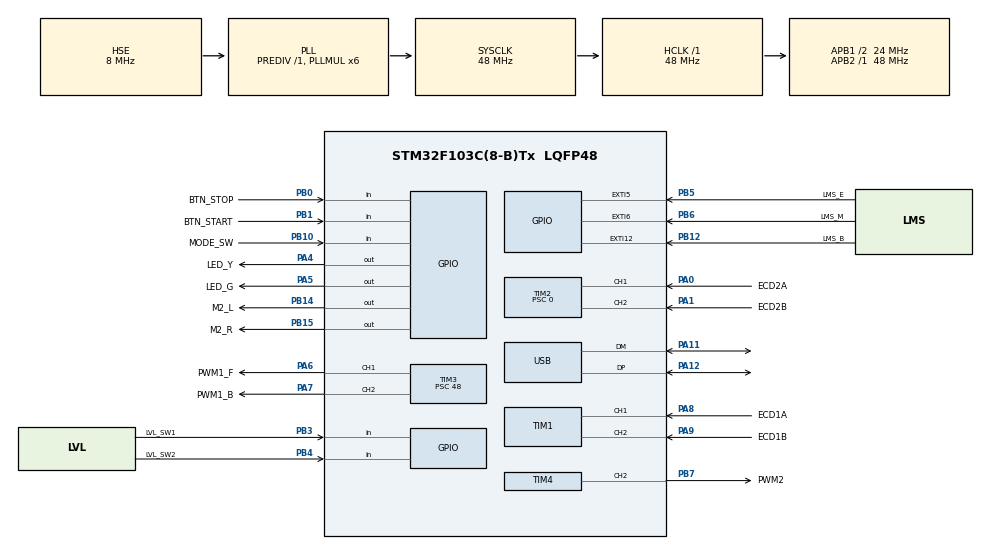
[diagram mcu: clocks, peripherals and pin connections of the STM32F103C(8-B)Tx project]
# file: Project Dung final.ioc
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Mcu.Family=STM32F1
Mcu.Name=STM32F103C(8-B)Tx
Mcu.Package=LQFP48
NVIC.EXTI15_10_IRQn=true\:2\:0\:true\:false\:true\:true\:true\:true
NVIC.EXTI9_5_IRQn=true\:2\:0\:true\:false\:true\:true\:true\:true
NVIC.PriorityGroup=NVIC_PRIORITYGROUP_4
NVIC.TIM4_IRQn=true\:1\:0\:true\:false\:true\:true\:true\:true
NVIC.USB_LP_CAN1_RX0_IRQn=true\:0\:0\:false\:false\:true\:false\:true\:true
PA0-WKUP.GPIO_Label=ECD2A
PA0-WKUP.Signal=S_TIM2_CH1_ETR
PA1.GPIO_Label=ECD2B
PA1.Signal=S_TIM2_CH2
PA11.Mode=Device
PA11.Signal=USB_DM
PA12.Mode=Device
PA12.Signal=USB_DP
PA13.Mode=Serial_Wire
PA13.Signal=SYS_JTMS-SWDIO
PA14.Mode=Serial_Wire
PA14.Signal=SYS_JTCK-SWCLK
PA4.GPIO_Label=LED_Y
PA4.Signal=GPIO_Output
PA5.GPIO_Label=LED_G
PA5.Signal=GPIO_Output
PA6.GPIO_Label=PWM1_F
PA6.Signal=S_TIM3_CH1
PA7.GPIO_Label=PWM1_B
PA7.Signal=S_TIM3_CH2
PA8.GPIO_Label=ECD1A
PA8.Signal=S_TIM1_CH1
PA9.GPIO_Label=ECD1B
PA9.Signal=S_TIM1_CH2
PB0.GPIO_Label=BTN_STOP
PB0.GPIO_PuPd=GPIO_PULLUP
PB0.Signal=GPIO_Input
PB1.GPIO_Label=BTN_START
PB1.GPIO_PuPd=GPIO_PULLUP
PB1.Signal=GPIO_Input
PB10.GPIO_Label=MODE_SW
PB10.GPIO_PuPd=GPIO_PULLUP
PB10.Signal=GPIO_Input
PB12.GPIO_Label=LMS_B
PB12.GPIO_ModeDefaultEXTI=GPIO_MODE_IT_RISING_FALLING
PB12.GPIO_PuPd=GPIO_PULLUP
PB12.Signal=GPXTI12
PB14.GPIO_Label=M2_L
PB14.Signal=GPIO_Output
PB15.GPIO_Label=M2_R
PB15.Signal=GPIO_Output
PB3.GPIO_Label=LVL_SW1
PB3.GPIO_PuPd=GPIO_PULLUP
PB3.Signal=GPIO_Input
PB4.GPIO_Label=LVL_SW2
PB4.GPIO_PuPd=GPIO_PULLUP
PB4.Signal=GPIO_Input
PB5.GPIO_Label=LMS_E
PB5.GPIO_ModeDefaultEXTI=GPIO_MODE_IT_RISING_FALLING
PB5.GPIO_PuPd=GPIO_PULLUP
PB5.Signal=GPXTI5
PB6.GPIO_Label=LMS_M
PB6.GPIO_ModeDefaultEXTI=GPIO_MODE_IT_RISING_FALLING
PB6.GPIO_PuPd=GPIO_PULLUP
PB6.Signal=GPXTI6
PB7.GPIO_Label=PWM2
PB7.Signal=S_TIM4_CH2
PB8.Signal=S_TIM4_CH3
PD0-OSC_IN.GPIO_Label=OSC1
PD0-OSC_IN.Mode=HSE-External-Oscillator
PD0-OSC_IN.Signal=RCC_OSC_IN
PD1-OSC_OUT.GPIO_Label=OSC2
PD1-OSC_OUT.Mode=HSE-External-Oscillator
PD1-OSC_OUT.Signal=RCC_OSC_OUT
ProjectManager.HeapSize=0x200
ProjectManager.StackSize=0x400
ProjectManager.TargetToolchain=STM32CubeIDE
RCC.ADCPresc=RCC_ADCPCLK2_DIV4
RCC.AHBFreq_Value=48000000
RCC.APB1CLKDivider=RCC_HCLK_DIV2
RCC.APB1Freq_Value=24000000
RCC.APB1TimFreq_Value=48000000
RCC.APB2Freq_Value=48000000
RCC.APB2TimFreq_Value=48000000
RCC.HCLKFreq_Value=48000000
RCC.PLLMUL=RCC_PLL_MUL6
RCC.SYSCLKFreq_VALUE=48000000
RCC.SYSCLKSource=RCC_SYSCLKSOURCE_PLLCLK
RCC.USBFreq_Value=48000000
SH.S_TIM1_CH1.0=TIM1_CH1,Encoder_Interface
SH.S_TIM1_CH2.0=TIM1_CH2,Encoder_Interface
SH.S_TIM2_CH1_ETR.0=TIM2_CH1,Encoder_Interface
SH.S_TIM2_CH2.0=TIM2_CH2,Encoder_Interface
SH.S_TIM3_CH1.0=TIM3_CH1,PWM Generation1 CH1
SH.S_TIM3_CH2.0=TIM3_CH2,PWM Generation2 CH2
SH.S_TIM4_CH2.0=TIM4_CH2,PWM Generation2 CH2
SH.S_TIM4_CH3.0=TIM4_CH3
TIM1.AutoReloadPreload=TIM_AUTORELOAD_PRELOAD_ENABLE
TIM1.EncoderMode=TIM_ENCODERMODE_TI12
TIM1.IC1Filter=10
TIM1.IC2Filter=10
TIM2.AutoReloadPreload=TIM_AUTORELOAD_PRELOAD_ENABLE
TIM2.EncoderMode=TIM_ENCODERMODE_TI12
TIM2.IC1Filter=10
TIM2.IC2Filter=10
TIM2.Period=65535
TIM2.Prescaler=0
TIM3.AutoReloadPreload=TIM_AUTORELOAD_PRELOAD_ENABLE
TIM3.Channel-PWM\ Generation1\ CH1=TIM_CHANNEL_1
TIM3.Channel-PWM\ Generation2\ CH2=TIM_CHANNEL_2
TIM3.Period=499
TIM3.Prescaler=48
TIM4.AutoReloadPreload=TIM_AUTORELOAD_PRELOAD_ENABLE
TIM4.Channel-PWM\ Generation2\ CH2=TIM_CHANNEL_2
TIM4.Period=999
TIM4.Prescaler=48
USB_DEVICE.APP_RX_DATA_SIZE=64
USB_DEVICE.APP_TX_DATA_SIZE=64
USB_DEVICE.CLASS_NAME_FS=CDC
USB_DEVICE.VirtualMode=Cdc
USB_DEVICE.VirtualModeFS=Cdc_FS
VP_USB_DEVICE_VS_USB_DEVICE_CDC_FS.Mode=CDC_FS
board=custom

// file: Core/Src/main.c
/* USER CODE BEGIN Header */
/**
 ******************************************************************************
 * @file           : main.c (FINAL)
 * @brief          : Main program body
 ******************************************************************************
 * @attention
 *
 * Copyright (c) 2022 STMicroelectronics.
 * All rights reserved.
 *
 * This software is licensed under terms that can be found in the LICENSE file
 * in the root directory of this software component.
 * If no LICENSE file comes with this software, it is provided AS-IS.
 *
 ******************************************************************************
 */
/* USER CODE END Header */
#include "main.h"
#include "usb_device.h"

/* USER CODE BEGIN Includes */
#include "user_func.h"
#include "BUTTON.h"
/* USER CODE END Includes */

TIM_HandleTypeDef htim1;
TIM_HandleTypeDef htim2;
TIM_HandleTypeDef htim3;
TIM_HandleTypeDef htim4;

/* USER CODE BEGIN PV */
typedef enum {
  RUN = 0, IDLE = 1
} State;
State state = 0;

Button BTN_START, BTN_STOP, MODE, LVL1, LVL2;
int32_t ECD1 = 0, ECD2 = 0;

/* USER CODE END PV */

void SystemClock_Config(void);
static void MX_GPIO_Init(void);
static void MX_TIM1_Init(void);
static void MX_TIM2_Init(void);
static void MX_TIM3_Init(void);
static void MX_TIM4_Init(void);

int main(void)
{

  /* MCU Configuration--------------------------------------------------------*/

  /* Reset of all peripherals, Initializes the Flash interface and the Systick. */
  HAL_Init();

  /* Configure the system clock */
  SystemClock_Config();

  /* Initialize all configured peripherals */
  MX_GPIO_Init();
  MX_TIM1_Init();
  MX_TIM2_Init();
  MX_TIM3_Init();
  MX_TIM4_Init();
  MX_USB_DEVICE_Init();
  /* USER CODE BEGIN 2 */
  set_motor2_dir(0);

  // For encoders
  HAL_TIM_Encoder_Start(&htim1, TIM_CHANNEL_ALL);
  HAL_TIM_Encoder_Start(&htim2, TIM_CHANNEL_ALL);

  // For PWM
  HAL_TIM_PWM_Start(&htim4, TIM_CHANNEL_2);
  HAL_TIM_PWM_Start(&htim3, TIM_CHANNEL_1);
  HAL_TIM_PWM_Start(&htim3, TIM_CHANNEL_2);

  // For buttons
  buttonInit(&BTN_START, BTN_START_GPIO_Port, BTN_START_Pin);
  buttonInit(&BTN_STOP, BTN_STOP_GPIO_Port, BTN_STOP_Pin);

  buttonInit(&MODE, MODE_SW_GPIO_Port, MODE_SW_Pin);
  buttonInit(&LVL1, LVL_SW1_GPIO_Port, LVL_SW1_Pin);
  buttonInit(&LVL2, LVL_SW2_GPIO_Port, LVL_SW2_Pin);
  /* USER CODE END 2 */

  /* Infinite loop */
  /* USER CODE BEGIN WHILE */
  // Main run
  state = MODE.state;

  if (state == RUN)
	active_run();
  else
	active_idle();

  while (1) {
    /* USER CODE END WHILE */

    /* USER CODE BEGIN 3 */
	state = buttonRead(&MODE);
	if (MODE.hasChanged) {
	  if (state == RUN)
		active_run();
	  else
		active_idle();
	  MODE.hasChanged = false;
	}
	apply_state();
  }
  /* USER CODE END 3 */
}

void SystemClock_Config(void)
{
  RCC_OscInitTypeDef RCC_OscInitStruct = {0};
  RCC_ClkInitTypeDef RCC_ClkInitStruct = {0};
  RCC_PeriphCLKInitTypeDef PeriphClkInit = {0};

  /** Initializes the RCC Oscillators according to the specified parameters
  * in the RCC_OscInitTypeDef structure.
  */
  RCC_OscInitStruct.OscillatorType = RCC_OSCILLATORTYPE_HSE;
  RCC_OscInitStruct.HSEState = RCC_HSE_ON;
  RCC_OscInitStruct.HSEPredivValue = RCC_HSE_PREDIV_DIV1;
  RCC_OscInitStruct.HSIState = RCC_HSI_ON;
  RCC_OscInitStruct.PLL.PLLState = RCC_PLL_ON;
  RCC_OscInitStruct.PLL.PLLSource = RCC_PLLSOURCE_HSE;
  RCC_OscInitStruct.PLL.PLLMUL = RCC_PLL_MUL6;
  if (HAL_RCC_OscConfig(&RCC_OscInitStruct) != HAL_OK)
  {
    Error_Handler();
  }

  /** Initializes the CPU, AHB and APB buses clocks
  */
  RCC_ClkInitStruct.ClockType = RCC_CLOCKTYPE_HCLK|RCC_CLOCKTYPE_SYSCLK
                              |RCC_CLOCKTYPE_PCLK1|RCC_CLOCKTYPE_PCLK2;
  RCC_ClkInitStruct.SYSCLKSource = RCC_SYSCLKSOURCE_PLLCLK;
  RCC_ClkInitStruct.AHBCLKDivider = RCC_SYSCLK_DIV1;
  RCC_ClkInitStruct.APB1CLKDivider = RCC_HCLK_DIV2;
  RCC_ClkInitStruct.APB2CLKDivider = RCC_HCLK_DIV1;

  if (HAL_RCC_ClockConfig(&RCC_ClkInitStruct, FLASH_LATENCY_1) != HAL_OK)
  {
    Error_Handler();
  }
  PeriphClkInit.PeriphClockSelection = RCC_PERIPHCLK_USB;
  PeriphClkInit.UsbClockSelection = RCC_USBCLKSOURCE_PLL;
  if (HAL_RCCEx_PeriphCLKConfig(&PeriphClkInit) != HAL_OK)
  {
    Error_Handler();
  }
}

static void MX_TIM1_Init(void)
{

  TIM_Encoder_InitTypeDef sConfig = {0};
  TIM_MasterConfigTypeDef sMasterConfig = {0};

  htim1.Instance = TIM1;
  htim1.Init.Prescaler = 0;
  htim1.Init.CounterMode = TIM_COUNTERMODE_UP;
  htim1.Init.Period = 65535;
  htim1.Init.ClockDivision = TIM_CLOCKDIVISION_DIV1;
  htim1.Init.RepetitionCounter = 0;
  htim1.Init.AutoReloadPreload = TIM_AUTORELOAD_PRELOAD_ENABLE;
  sConfig.EncoderMode = TIM_ENCODERMODE_TI12;
  sConfig.IC1Polarity = TIM_ICPOLARITY_RISING;
  sConfig.IC1Selection = TIM_ICSELECTION_DIRECTTI;
  sConfig.IC1Prescaler = TIM_ICPSC_DIV1;
  sConfig.IC1Filter = 10;
  sConfig.IC2Polarity = TIM_ICPOLARITY_RISING;
  sConfig.IC2Selection = TIM_ICSELECTION_DIRECTTI;
  sConfig.IC2Prescaler = TIM_ICPSC_DIV1;
  sConfig.IC2Filter = 10;
  if (HAL_TIM_Encoder_Init(&htim1, &sConfig) != HAL_OK)
  {
    Error_Handler();
  }
  sMasterConfig.MasterOutputTrigger = TIM_TRGO_RESET;
  sMasterConfig.MasterSlaveMode = TIM_MASTERSLAVEMODE_DISABLE;
  if (HAL_TIMEx_MasterConfigSynchronization(&htim1, &sMasterConfig) != HAL_OK)
  {
    Error_Handler();
  }

}

static void MX_TIM2_Init(void)
{

  TIM_Encoder_InitTypeDef sConfig = {0};
  TIM_MasterConfigTypeDef sMasterConfig = {0};

  htim2.Instance = TIM2;
  htim2.Init.Prescaler = 0;
  htim2.Init.CounterMode = TIM_COUNTERMODE_UP;
  htim2.Init.Period = 65535;
  htim2.Init.ClockDivision = TIM_CLOCKDIVISION_DIV1;
  htim2.Init.AutoReloadPreload = TIM_AUTORELOAD_PRELOAD_ENABLE;
  sConfig.EncoderMode = TIM_ENCODERMODE_TI12;
  sConfig.IC1Polarity = TIM_ICPOLARITY_RISING;
  sConfig.IC1Selection = TIM_ICSELECTION_DIRECTTI;
  sConfig.IC1Prescaler = TIM_ICPSC_DIV1;
  sConfig.IC1Filter = 10;
  sConfig.IC2Polarity = TIM_ICPOLARITY_RISING;
  sConfig.IC2Selection = TIM_ICSELECTION_DIRECTTI;
  sConfig.IC2Prescaler = TIM_ICPSC_DIV1;
  sConfig.IC2Filter = 10;
  if (HAL_TIM_Encoder_Init(&htim2, &sConfig) != HAL_OK)
  {
    Error_Handler();
  }
  sMasterConfig.MasterOutputTrigger = TIM_TRGO_RESET;
  sMasterConfig.MasterSlaveMode = TIM_MASTERSLAVEMODE_DISABLE;
  if (HAL_TIMEx_MasterConfigSynchronization(&htim2, &sMasterConfig) != HAL_OK)
  {
    Error_Handler();
  }

}

static void MX_TIM3_Init(void)
{

  TIM_MasterConfigTypeDef sMasterConfig = {0};
  TIM_OC_InitTypeDef sConfigOC = {0};

  htim3.Instance = TIM3;
  htim3.Init.Prescaler = 48;
  htim3.Init.CounterMode = TIM_COUNTERMODE_UP;
  htim3.Init.Period = 499;
  htim3.Init.ClockDivision = TIM_CLOCKDIVISION_DIV1;
  htim3.Init.AutoReloadPreload = TIM_AUTORELOAD_PRELOAD_ENABLE;
  if (HAL_TIM_PWM_Init(&htim3) != HAL_OK)
  {
    Error_Handler();
  }
  sMasterConfig.MasterOutputTrigger = TIM_TRGO_RESET;
  sMasterConfig.MasterSlaveMode = TIM_MASTERSLAVEMODE_DISABLE;
  if (HAL_TIMEx_MasterConfigSynchronization(&htim3, &sMasterConfig) != HAL_OK)
  {
    Error_Handler();
  }
  sConfigOC.OCMode = TIM_OCMODE_PWM1;
  sConfigOC.Pulse = 0;
  sConfigOC.OCPolarity = TIM_OCPOLARITY_HIGH;
  sConfigOC.OCFastMode = TIM_OCFAST_DISABLE;
  if (HAL_TIM_PWM_ConfigChannel(&htim3, &sConfigOC, TIM_CHANNEL_1) != HAL_OK)
  {
    Error_Handler();
  }
  if (HAL_TIM_PWM_ConfigChannel(&htim3, &sConfigOC, TIM_CHANNEL_2) != HAL_OK)
  {
    Error_Handler();
  }
  HAL_TIM_MspPostInit(&htim3);

}

static void MX_TIM4_Init(void)
{

  TIM_MasterConfigTypeDef sMasterConfig = {0};
  TIM_OC_InitTypeDef sConfigOC = {0};

  htim4.Instance = TIM4;
  htim4.Init.Prescaler = 48;
  htim4.Init.CounterMode = TIM_COUNTERMODE_UP;
  htim4.Init.Period = 999;
  htim4.Init.ClockDivision = TIM_CLOCKDIVISION_DIV1;
  htim4.Init.AutoReloadPreload = TIM_AUTORELOAD_PRELOAD_ENABLE;
  if (HAL_TIM_PWM_Init(&htim4) != HAL_OK)
  {
    Error_Handler();
  }
  sMasterConfig.MasterOutputTrigger = TIM_TRGO_RESET;
  sMasterConfig.MasterSlaveMode = TIM_MASTERSLAVEMODE_DISABLE;
  if (HAL_TIMEx_MasterConfigSynchronization(&htim4, &sMasterConfig) != HAL_OK)
  {
    Error_Handler();
  }
  sConfigOC.OCMode = TIM_OCMODE_PWM1;
  sConfigOC.Pulse = 0;
  sConfigOC.OCPolarity = TIM_OCPOLARITY_HIGH;
  sConfigOC.OCFastMode = TIM_OCFAST_DISABLE;
  if (HAL_TIM_PWM_ConfigChannel(&htim4, &sConfigOC, TIM_CHANNEL_2) != HAL_OK)
  {
    Error_Handler();
  }
  HAL_TIM_MspPostInit(&htim4);

}

static void MX_GPIO_Init(void)
{
  GPIO_InitTypeDef GPIO_InitStruct = {0};

  /* GPIO Ports Clock Enable */
  __HAL_RCC_GPIOC_CLK_ENABLE();
  __HAL_RCC_GPIOD_CLK_ENABLE();
  __HAL_RCC_GPIOA_CLK_ENABLE();
  __HAL_RCC_GPIOB_CLK_ENABLE();

  /*Configure GPIO pin Output Level */
  HAL_GPIO_WritePin(GPIOA, LED_Y_Pin|LED_G_Pin, GPIO_PIN_RESET);

  /*Configure GPIO pin Output Level */
  HAL_GPIO_WritePin(GPIOB, M2_L_Pin|M2_R_Pin, GPIO_PIN_RESET);

  /*Configure GPIO pins : PC13 PC14 PC15 */
  GPIO_InitStruct.Pin = GPIO_PIN_13|GPIO_PIN_14|GPIO_PIN_15;
  GPIO_InitStruct.Mode = GPIO_MODE_ANALOG;
  HAL_GPIO_Init(GPIOC, &GPIO_InitStruct);

  /*Configure GPIO pins : PA2 PA3 PA10 PA15 */
  GPIO_InitStruct.Pin = GPIO_PIN_2|GPIO_PIN_3|GPIO_PIN_10|GPIO_PIN_15;
  GPIO_InitStruct.Mode = GPIO_MODE_ANALOG;
  HAL_GPIO_Init(GPIOA, &GPIO_InitStruct);

  /*Configure GPIO pins : LED_Y_Pin LED_G_Pin */
  GPIO_InitStruct.Pin = LED_Y_Pin|LED_G_Pin;
  GPIO_InitStruct.Mode = GPIO_MODE_OUTPUT_PP;
  GPIO_InitStruct.Pull = GPIO_NOPULL;
  GPIO_InitStruct.Speed = GPIO_SPEED_FREQ_LOW;
  HAL_GPIO_Init(GPIOA, &GPIO_InitStruct);

  /*Configure GPIO pins : BTN_STOP_Pin BTN_START_Pin MODE_SW_Pin LVL_SW1_Pin
                           LVL_SW2_Pin */
  GPIO_InitStruct.Pin = BTN_STOP_Pin|BTN_START_Pin|MODE_SW_Pin|LVL_SW1_Pin
                          |LVL_SW2_Pin;
  GPIO_InitStruct.Mode = GPIO_MODE_INPUT;
  GPIO_InitStruct.Pull = GPIO_PULLUP;
  HAL_GPIO_Init(GPIOB, &GPIO_InitStruct);

  /*Configure GPIO pins : PB2 PB11 PB13 PB9 */
  GPIO_InitStruct.Pin = GPIO_PIN_2|GPIO_PIN_11|GPIO_PIN_13|GPIO_PIN_9;
  GPIO_InitStruct.Mode = GPIO_MODE_ANALOG;
  HAL_GPIO_Init(GPIOB, &GPIO_InitStruct);

  /*Configure GPIO pins : LMS_B_Pin LMS_E_Pin LMS_M_Pin */
  GPIO_InitStruct.Pin = LMS_B_Pin|LMS_E_Pin|LMS_M_Pin;
  GPIO_InitStruct.Mode = GPIO_MODE_IT_RISING_FALLING;
  GPIO_InitStruct.Pull = GPIO_PULLUP;
  HAL_GPIO_Init(GPIOB, &GPIO_InitStruct);

  /*Configure GPIO pins : M2_L_Pin M2_R_Pin */
  GPIO_InitStruct.Pin = M2_L_Pin|M2_R_Pin;
  GPIO_InitStruct.Mode = GPIO_MODE_OUTPUT_PP;
  GPIO_InitStruct.Pull = GPIO_NOPULL;
  GPIO_InitStruct.Speed = GPIO_SPEED_FREQ_LOW;
  HAL_GPIO_Init(GPIOB, &GPIO_InitStruct);

  /* EXTI interrupt init*/
  HAL_NVIC_SetPriority(EXTI9_5_IRQn, 2, 0);
  HAL_NVIC_EnableIRQ(EXTI9_5_IRQn);

  HAL_NVIC_SetPriority(EXTI15_10_IRQn, 2, 0);
  HAL_NVIC_EnableIRQ(EXTI15_10_IRQn);

}

void Error_Handler(void)
{
  __disable_irq();
  while (1) {
  }
}
